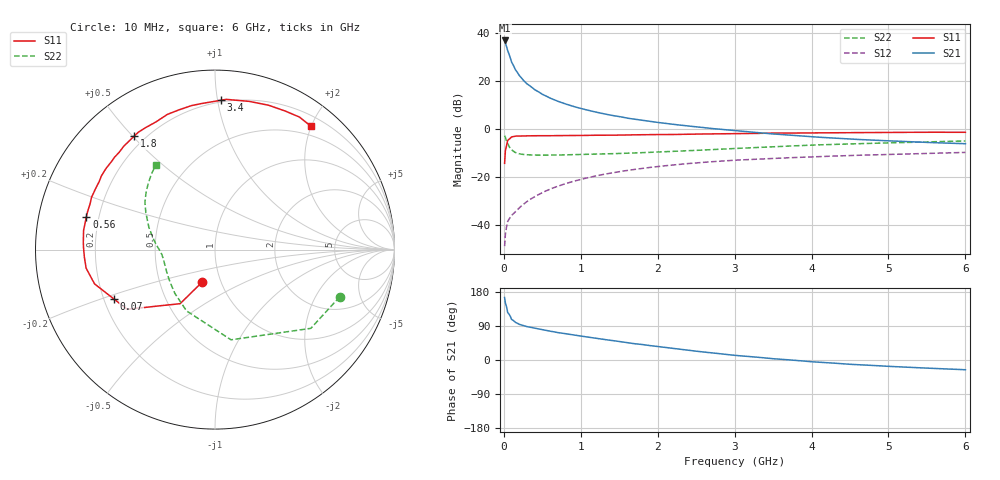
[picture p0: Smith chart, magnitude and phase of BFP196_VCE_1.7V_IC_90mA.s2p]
! Infineon Technologies  Discrete & RF Semiconductors
! BFP196
! VCE = 1.7 V,  IC =  90mA
! Common Emitter S-Parameters:  Jan 2016
# GHz  S  MA  R  50
!  f  S11  S21  S12  S22
! GHz  MAG  ANG  MAG  ANG  MAG  ANG  MAG  ANG
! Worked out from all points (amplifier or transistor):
!   210 points, 10 MHz to 6 GHz, reference 50 ohm
!   highest |S21| = 37.1 dB at 10 MHz (marker M1)
!   |S21| within 3 dB of that: start of sweep to 38.58 MHz
!   unconditionally stable (mu >= 1): 268 MHz to 5.423 GHz; 5.578 GHz to end of sweep
!   at 185 MHz: K = 0.90, MSG = 28.2 dB, |S12| = -33.2 dB
!   at 1.52 GHz: K = 1.11, MAG = 9.4 dB, |S12| = -17.5 dB
!   at 6 GHz: K = 1.02, MAG = 1.0 dB, |S12| = -9.6 dB
!   S11 on the Smith chart (normalised r, x): 10 MHz: 0.81, -0.31; 70 MHz: 0.24, -0.22; 560 MHz: 0.15, +0.12; 1.8 GHz: 0.16, +0.50; 3.4 GHz: 0.19, +1.02; 6 GHz: 0.35, +2.00
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0.01  0.1969 -111.9  71.35 164.8  0.0037 70.9  0.7433 -20.7
0.02  0.3585 -122.8  64.72 150.6  0.0065 64.0  0.6911 -39.4
0.05  0.5918 -145.8  43.82 125.1  0.0121 53.0  0.5105 -79.9
0.07  0.6262 -153.8  36.14 120.2  0.0137 52.1  0.4383 -91.3
0.1  0.6977 -164.1  25.49 107.3  0.0161 51.1  0.3765 -114.9
0.15  0.7255 -171.8  17.56 99.3  0.0194 55.4  0.3309 -132.5
0.2  0.7289 -176.6  13.36 94.2  0.0231 59.3  0.3109 -142.9
0.24  0.7314 -179.6  11.21 91.6  0.0265 60.6  0.303 -148.8
0.3  0.7348 176.9  8.931 88.1  0.0314 63.8  0.297 -154.8
0.4  0.74 171.7  6.759 83.8  0.0396 65.7  0.2924 -161.4
0.5  0.7384 168.4  5.407 80.0  0.0481 66.6  0.2912 -165.6
0.56  0.7393 165.8  4.864 77.8  0.0534 66.8  0.2915 -167.3
0.7  0.7411 160.1  3.874 72.4  0.0654 66.3  0.293 -170.7
1.02  0.7494 149.1  2.684 62.6  0.0926 63.1  0.2999 -175.8
1.3  0.7563 140.2  2.116 54.2  0.116 59.3  0.3083 -179.3
1.8  0.7767 125.5  1.553 40.8  0.1544 51.5  0.3273 175.2
2.02  0.7818 119.6  1.387 35.1  0.17 48.1  0.3396 172.3
3.1  0.8195 93.5  0.913 10.7  0.2323 31.3  0.4069 157.3
3.4  0.833 87.6  0.831 5.4  0.2454 27.0  0.4285 153.3
4.1  0.8486 75.4  0.688 -5.8  0.2717 18.1  0.4772 144.6
5.1  0.8667 62.1  0.57 -17.6  0.3047 6.9  0.5296 134.0
6  0.8709 52.1  0.504 -25.7  0.332 -3.2  0.5753 125.0
